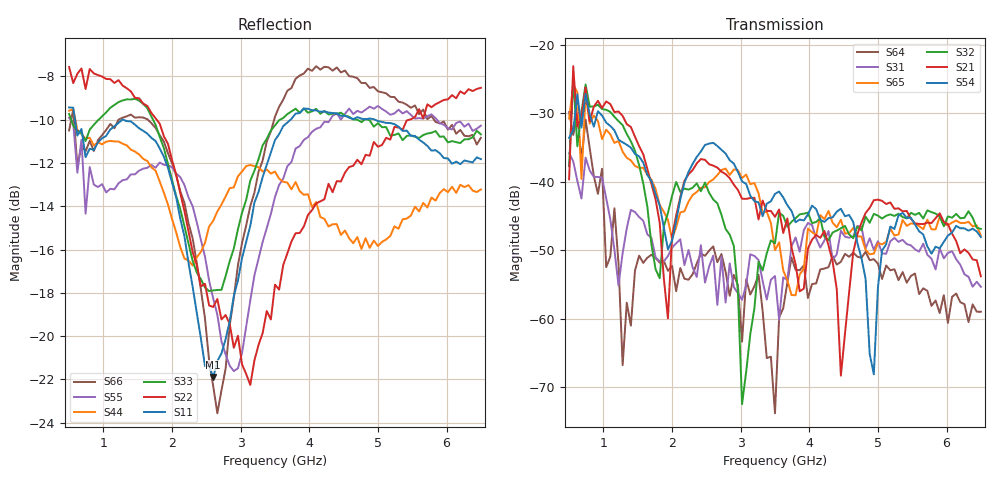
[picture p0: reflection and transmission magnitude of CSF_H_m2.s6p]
!Keysight Technologies,M9804A,MY58100912,A.14.10.03
!Date: Thursday, April 27, 2023 10:28:33
!Correction: S11(C  6-Port  )
!S12(C  6-Port  )
!S13(C  6-Port  )
!S14(C  6-Port  )
!S15(C  6-Port  )
!S16(C  6-Port  )
!S21(C  6-Port  )
!S22(C  6-Port  )
!S23(C  6-Port  )
!S24(C  6-Port  )
!S25(C  6-Port  )
!S26(C  6-Port  )
!S31(C  6-Port  )
!S32(C  6-Port  )
!S33(C  6-Port  )
!S34(C  6-Port  )
!S35(C  6-Port  )
!S36(C  6-Port  )
!S41(C  6-Port  )
!S42(C  6-Port  )
!S43(C  6-Port  )
!S44(C  6-Port  )
!S45(C  6-Port  )
!S46(C  6-Port  )
!S51(C  6-Port  )
!S52(C  6-Port  )
!S53(C  6-Port  )
!S54(C  6-Port  )
!S55(C  6-Port  )
!S56(C  6-Port  )
!S61(C  6-Port  )
!S62(C  6-Port  )
!S63(C  6-Port  )
!S64(C  6-Port  )
!S65(C  6-Port  )
!S66(C  6-Port  )
!S6P File: Measurement: :
# Hz S  RI  R 50
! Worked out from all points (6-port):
!   101 points, 500 MHz to 6.5 GHz, reference 50 ohm
!   strongest paths, dB at 500 MHz, 2 GHz, 3.5 GHz, 5 GHz, 6.5 GHz:
!     S54: -33.6, -48.6, -41.8, -55.4, -48.1
!     S21: -39.7, -47.9, -45.1, -42.6, -53.8
!     S32: -37.7, -42.1, -49.0, -44.9, -46.9
!     S65: -30.8, -48.4, -50.0, -49.0, -47.9
!     S31: -35.8, -49.6, -53.8, -48.7, -55.3
!     S64: -29.8, -52.3, -73.8, -52.0, -59.0
!   lowest |S11| = -21.9 dB at 2.6 GHz (marker M1), VSWR 1.17, Z = 42.8 + j1.87 ohm
!   |S11| at or under -10 dB: 586 MHz to 1.275 GHz (688.6 MHz wide, 74 % of centre); 1.291 GHz to 3.725 GHz (2.435 GHz wide, 97.1 % of centre); 4.958 GHz to end of sweep
